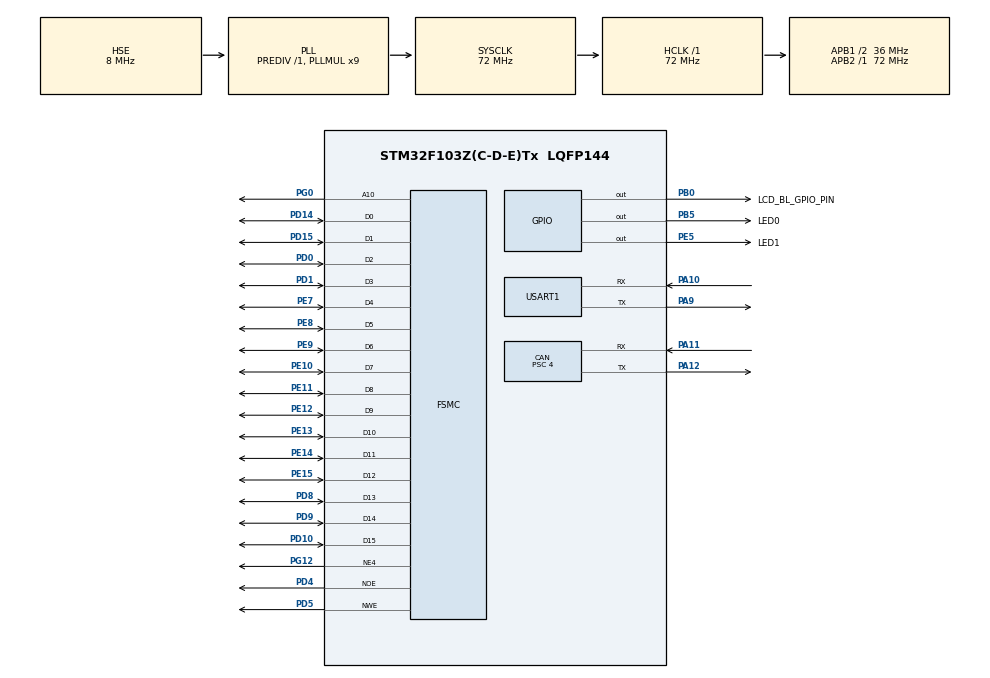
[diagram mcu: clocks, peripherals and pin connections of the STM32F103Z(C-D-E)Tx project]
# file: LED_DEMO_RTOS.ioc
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CAN.BS1=CAN_BS1_13TQ
CAN.BS2=CAN_BS2_4TQ
CAN.CalculateBaudRate=500000
CAN.CalculateTimeBit=2000
CAN.CalculateTimeQuantum=111.11111111111111
CAN.Prescaler=4
FREERTOS.Tasks01=sumupTask,24,128,StartSumupTask,Default,NULL,Dynamic,NULL,NULL;lvglTask,24,1024,StartlvglTask,Default,NULL,Dynamic,NULL,NULL
FREERTOS.configCHECK_FOR_STACK_OVERFLOW=2
FREERTOS.configTOTAL_HEAP_SIZE=20480
FREERTOS.configUSE_MALLOC_FAILED_HOOK=1
FSMC.AddressSetupTime4=0
FSMC.BusTurnAroundDuration4=0
FSMC.DataSetupTime4=15
FSMC.ExtendedAddressSetupTime4=0
FSMC.ExtendedBusTurnAroundDuration4=0
FSMC.ExtendedDataSetupTime4=1
FSMC.ExtendedMode4=FSMC_EXTENDED_MODE_ENABLE
Mcu.Family=STM32F1
Mcu.Name=STM32F103Z(C-D-E)Tx
Mcu.Package=LQFP144
NVIC.PriorityGroup=NVIC_PRIORITYGROUP_4
NVIC.TIM3_IRQn=true\:5\:0\:true\:false\:true\:true\:true\:true\:true
NVIC.TIM5_IRQn=true\:6\:0\:true\:false\:true\:true\:true\:true\:true
NVIC.TIM6_IRQn=true\:15\:0\:false\:false\:true\:false\:false\:true\:true
NVIC.TimeBase=TIM6_IRQn
NVIC.TimeBaseIP=TIM6
OSC_IN.Mode=HSE-External-Oscillator
OSC_IN.Signal=RCC_OSC_IN
OSC_OUT.Mode=HSE-External-Oscillator
OSC_OUT.Signal=RCC_OSC_OUT
PA10.Mode=Asynchronous
PA10.Signal=USART1_RX
PA11.Mode=CAN_Activate
PA11.Signal=CAN_RX
PA12.Mode=CAN_Activate
PA12.Signal=CAN_TX
PA13.Mode=Serial_Wire
PA13.Signal=SYS_JTMS-SWDIO
PA14.Mode=Serial_Wire
PA14.Signal=SYS_JTCK-SWCLK
PA9.Mode=Asynchronous
PA9.Signal=USART1_TX
PB0.GPIO_Label=LCD_BL_GPIO_PIN
PB0.GPIO_Speed=GPIO_SPEED_FREQ_HIGH
PB0.PinState=GPIO_PIN_SET
PB0.Signal=GPIO_Output
PB5.GPIO_Label=LED0
PB5.PinState=GPIO_PIN_SET
PB5.Signal=GPIO_Output
PC14-OSC32_IN.Mode=LSE-External-Oscillator
PC14-OSC32_IN.Signal=RCC_OSC32_IN
PC15-OSC32_OUT.Mode=LSE-External-Oscillator
PC15-OSC32_OUT.Signal=RCC_OSC32_OUT
PD0.Signal=FSMC_D2_DA2
PD1.Signal=FSMC_D3_DA3
PD10.Signal=FSMC_D15_DA15
PD14.Signal=FSMC_D0_DA0
PD15.Signal=FSMC_D1_DA1
PD4.Signal=FSMC_NOE
PD5.Signal=FSMC_NWE
PD8.Signal=FSMC_D13_DA13
PD9.Signal=FSMC_D14_DA14
PE10.Signal=FSMC_D7_DA7
PE11.Signal=FSMC_D8_DA8
PE12.Signal=FSMC_D9_DA9
PE13.Signal=FSMC_D10_DA10
PE14.Signal=FSMC_D11_DA11
PE15.Signal=FSMC_D12_DA12
PE5.GPIO_Label=LED1
PE5.PinState=GPIO_PIN_SET
PE5.Signal=GPIO_Output
PE7.Signal=FSMC_D4_DA4
PE8.Signal=FSMC_D5_DA5
PE9.Signal=FSMC_D6_DA6
PG0.Signal=FSMC_A10
PG12.Mode=NorPsramChipSelect4_4
PG12.Signal=FSMC_NE4
ProjectManager.HeapSize=0x200
ProjectManager.StackSize=0x400
ProjectManager.TargetToolchain=Makefile
RCC.AHBFreq_Value=72000000
RCC.APB1CLKDivider=RCC_HCLK_DIV2
RCC.APB1Freq_Value=36000000
RCC.APB1TimFreq_Value=72000000
RCC.APB2Freq_Value=72000000
RCC.APB2TimFreq_Value=72000000
RCC.HCLKFreq_Value=72000000
RCC.PLLMUL=RCC_PLL_MUL9
RCC.PLLSourceVirtual=RCC_PLLSOURCE_HSE
RCC.SYSCLKFreq_VALUE=72000000
RCC.SYSCLKSource=RCC_SYSCLKSOURCE_PLLCLK
RCC.USBFreq_Value=72000000
SH.FSMC_A10.0=FSMC_A10,A10_4
SH.FSMC_D0_DA0.0=FSMC_D0,16b-d4
SH.FSMC_D10_DA10.0=FSMC_D10,16b-d4
SH.FSMC_D11_DA11.0=FSMC_D11,16b-d4
SH.FSMC_D12_DA12.0=FSMC_D12,16b-d4
SH.FSMC_D13_DA13.0=FSMC_D13,16b-d4
SH.FSMC_D14_DA14.0=FSMC_D14,16b-d4
SH.FSMC_D15_DA15.0=FSMC_D15,16b-d4
SH.FSMC_D1_DA1.0=FSMC_D1,16b-d4
SH.FSMC_D2_DA2.0=FSMC_D2,16b-d4
SH.FSMC_D3_DA3.0=FSMC_D3,16b-d4
SH.FSMC_D4_DA4.0=FSMC_D4,16b-d4
SH.FSMC_D5_DA5.0=FSMC_D5,16b-d4
SH.FSMC_D6_DA6.0=FSMC_D6,16b-d4
SH.FSMC_D7_DA7.0=FSMC_D7,16b-d4
SH.FSMC_D8_DA8.0=FSMC_D8,16b-d4
SH.FSMC_D9_DA9.0=FSMC_D9,16b-d4
SH.FSMC_NOE.0=FSMC_NOE,Lcd4
SH.FSMC_NWE.0=FSMC_NWE,Lcd4
TIM3.Period=9999
TIM3.Prescaler=7199
TIM5.Period=4999
TIM5.Prescaler=7199
USART1.VirtualMode=VM_ASYNC
VP_FREERTOS_VS_CMSIS_V2.Mode=CMSIS_V2
VP_SYS_VS_tim6.Mode=TIM6
VP_TIM3_VS_ClockSourceINT.Mode=Internal
VP_TIM5_VS_ClockSourceINT.Mode=Internal
board=custom

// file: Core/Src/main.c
/* USER CODE BEGIN Header */
/**
  ******************************************************************************
  * @file           : main.c
  * @brief          : Main program body
  ******************************************************************************
  * @attention
  *
  * Copyright (c) 2026 STMicroelectronics.
  * All rights reserved.
  *
  * This software is licensed under terms that can be found in the LICENSE file
  * in the root directory of this software component.
  * If no LICENSE file comes with this software, it is provided AS-IS.
  *
  ******************************************************************************
  */
/* USER CODE END Header */
#include "main.h"
#include "cmsis_os.h"
#include "can.h"
#include "tim.h"
#include "usart.h"
#include "gpio.h"
#include "fsmc.h"

/* USER CODE BEGIN Includes */
#include <stdio.h>

#include "interrupt_demo.h"
#include "lcd.h"
//#include "sram.h"

/* USER CODE END Includes */

void SystemClock_Config(void);
void MX_FREERTOS_Init(void);
/* USER CODE BEGIN PFP */
void SRAM_Init(void);

/* USER CODE END PFP */

int main(void)
{

  /* MCU Configuration--------------------------------------------------------*/

  /* Reset of all peripherals, Initializes the Flash interface and the Systick. */
  HAL_Init();

  /* Configure the system clock */
  SystemClock_Config();

  /* Initialize all configured peripherals */
  MX_GPIO_Init();
  MX_TIM3_Init();
  MX_TIM5_Init();
  MX_USART1_UART_Init();
  MX_FSMC_Init();
  MX_CAN_Init();
  /* USER CODE BEGIN 2 */
  lcd_init();
  lcd_display_dir(1U);

  printf("LCD init done, ID: %04lX\r\n", (unsigned long)lcddev.id);
  printf("LCD size: %u x %u\r\n", lcddev.width, lcddev.height);
  can_filter_init();

  /* USER CODE END 2 */

  /* Init scheduler */
  osKernelInitialize();  /* Call init function for freertos objects (in cmsis_os2.c) */
  MX_FREERTOS_Init();

  /* Start scheduler */
  osKernelStart();

  /* We should never get here as control is now taken by the scheduler */

  /* Infinite loop */
  while (1)
  {

  }
}

void SystemClock_Config(void)
{
  RCC_OscInitTypeDef RCC_OscInitStruct = {0};
  RCC_ClkInitTypeDef RCC_ClkInitStruct = {0};

  /** Initializes the RCC Oscillators according to the specified parameters
  * in the RCC_OscInitTypeDef structure.
  */
  RCC_OscInitStruct.OscillatorType = RCC_OSCILLATORTYPE_HSE;
  RCC_OscInitStruct.HSEState = RCC_HSE_ON;
  RCC_OscInitStruct.HSEPredivValue = RCC_HSE_PREDIV_DIV1;
  RCC_OscInitStruct.HSIState = RCC_HSI_ON;
  RCC_OscInitStruct.PLL.PLLState = RCC_PLL_ON;
  RCC_OscInitStruct.PLL.PLLSource = RCC_PLLSOURCE_HSE;
  RCC_OscInitStruct.PLL.PLLMUL = RCC_PLL_MUL9;
  if (HAL_RCC_OscConfig(&RCC_OscInitStruct) != HAL_OK)
  {
    Error_Handler();
  }

  /** Initializes the CPU, AHB and APB buses clocks
  */
  RCC_ClkInitStruct.ClockType = RCC_CLOCKTYPE_HCLK|RCC_CLOCKTYPE_SYSCLK
                              |RCC_CLOCKTYPE_PCLK1|RCC_CLOCKTYPE_PCLK2;
  RCC_ClkInitStruct.SYSCLKSource = RCC_SYSCLKSOURCE_PLLCLK;
  RCC_ClkInitStruct.AHBCLKDivider = RCC_SYSCLK_DIV1;
  RCC_ClkInitStruct.APB1CLKDivider = RCC_HCLK_DIV2;
  RCC_ClkInitStruct.APB2CLKDivider = RCC_HCLK_DIV1;

  if (HAL_RCC_ClockConfig(&RCC_ClkInitStruct, FLASH_LATENCY_2) != HAL_OK)
  {
    Error_Handler();
  }
}

void HAL_TIM_PeriodElapsedCallback(TIM_HandleTypeDef *htim)
{
  /* USER CODE BEGIN Callback 0 */
  HAL_CAN_RxFifo0MsgPendingCallback(&hcan);

  /* USER CODE END Callback 0 */
  if (htim->Instance == TIM6)
  {
    HAL_IncTick();
  }
  /* USER CODE BEGIN Callback 1 */
  interrupt_demo_tim_period_elapsed_callback(htim);
  /* USER CODE END Callback 1 */
}

void Error_Handler(void)
{
  __disable_irq();
  while (1)
  {
  }
}

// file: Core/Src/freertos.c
/* USER CODE BEGIN Header */
/**
  ******************************************************************************
  * File Name          : freertos.c
  * Description        : Code for freertos applications
  ******************************************************************************
  * @attention
  *
  * Copyright (c) 2026 STMicroelectronics.
  * All rights reserved.
  *
  * This software is licensed under terms that can be found in the LICENSE file
  * in the root directory of this software component.
  * If no LICENSE file comes with this software, it is provided AS-IS.
  *
  ******************************************************************************
  */
/* USER CODE END Header */

#include "FreeRTOS.h"
#include "task.h"
#include "main.h"
#include "cmsis_os.h"

/* USER CODE BEGIN Includes */
#include "interrupt_demo.h"
#include "lvgl_demo.h"
#include "uart_demo.h"
#include "freertos_demo.h"
#include "tim.h"
#include "delay.h"
/* USER CODE END Includes */

/* Definitions for sumupTask */
osThreadId_t sumupTaskHandle;
const osThreadAttr_t sumupTask_attributes = {
  .name = "sumupTask",
  .stack_size = 128 * 4,
  .priority = (osPriority_t) osPriorityNormal,
};
/* Definitions for lvglTask */
osThreadId_t lvglTaskHandle;
const osThreadAttr_t lvglTask_attributes = {
  .name = "lvglTask",
  .stack_size = 1024 * 4,
  .priority = (osPriority_t) osPriorityNormal,
};
/* Definitions for uartTask */
osThreadId_t uartTaskHandle;
const osThreadAttr_t uartTask_attributes = {
  .name = "uartTask",
  .stack_size = 256 * 4,
  .priority = (osPriority_t) osPriorityNormal,
};

void StartSumupTask(void *argument);
void StartlvglTask(void *argument);
void StartUartTask(void *argument);

/* FreeRTOS 原生 API 创建的任务 */
TaskHandle_t servoTaskHandle = NULL;

void StartServoTask(void *argument);

void MX_FREERTOS_Init(void); /* (MISRA C 2004 rule 8.1) */

/* Hook prototypes */
void vApplicationStackOverflowHook(xTaskHandle xTask, signed char *pcTaskName);
void vApplicationMallocFailedHook(void);

/* USER CODE BEGIN 4 */
void vApplicationStackOverflowHook(xTaskHandle xTask, signed char *pcTaskName)
{
   /* Run time stack overflow checking is performed if
   configCHECK_FOR_STACK_OVERFLOW is defined to 1 or 2. This hook function is
   called if a stack overflow is detected. */
}
/* USER CODE END 4 */

/* USER CODE BEGIN 5 */
void vApplicationMallocFailedHook(void)
{
   /* vApplicationMallocFailedHook() will only be called if
   configUSE_MALLOC_FAILED_HOOK is set to 1 in FreeRTOSConfig.h. It is a hook
   function that will get called if a call to pvPortMalloc() fails.
   pvPortMalloc() is called internally by the kernel whenever a task, queue,
   timer or semaphore is created. It is also called by various parts of the
   demo application. If heap_1.c or heap_2.c are used, then the size of the
   heap available to pvPortMalloc() is defined by configTOTAL_HEAP_SIZE in
   FreeRTOSConfig.h, and the xPortGetFreeHeapSize() API function can be used
   to query the size of free heap space that remains (although it does not
   provide information on how the remaining heap might be fragmented). */
}
/* USER CODE END 5 */

void MX_FREERTOS_Init(void) {

  /* Create the thread(s) */
  /* creation of sumupTask */
  sumupTaskHandle = osThreadNew(StartSumupTask, NULL, &sumupTask_attributes);

  /* creation of lvglTask */
  lvglTaskHandle = osThreadNew(StartlvglTask, NULL, &lvglTask_attributes);

  /* creation of uartTask */
  uartTaskHandle = osThreadNew(StartUartTask, NULL, &uartTask_attributes);

  /* USER CODE BEGIN RTOS_THREADS */
  /* add threads, ... */
  /* 使用 xTaskCreate (原生 FreeRTOS API) 创建舵机控制任务 */
  xTaskCreate(
    StartServoTask,       /* 任务函数 */
    "servoTask",          /* 任务名 */
    512,                  /* 栈大小 (word) */
    NULL,                 /* 参数 */
    osPriorityNormal,     /* 优先级 */
    &servoTaskHandle      /* 任务句柄 */
  );
  /* USER CODE END RTOS_THREADS */

}

void StartSumupTask(void *argument)
{
  /* USER CODE BEGIN StartSumupTask */
  /* Infinite loop */
  interrupt_demo_task(argument);
  /* USER CODE END StartSumupTask */
}

void StartlvglTask(void *argument)
{
  /* USER CODE BEGIN StartlvglTask */
  /* Infinite loop */
  lvgl_demo_task(argument);
  /* USER CODE END StartlvglTask */
}

void StartUartTask(void *argument)
{
  /* USER CODE BEGIN StartUartTask */
  /* Infinite loop */
  uart_demo_task(argument);
  /* USER CODE END StartUartTask */
}

/* USER CODE BEGIN Header_StartServoTask */
/**
* @brief Function implementing the servoTask thread (created via xTaskCreate).
* @param argument: Not used
* @retval None
*/
/* USER CODE END Header_StartServoTask */
void StartServoTask(void *argument)
{
  /* USER CODE BEGIN StartServoTask */
  freertos_servo_task(argument);
  /* USER CODE END StartServoTask */
}
